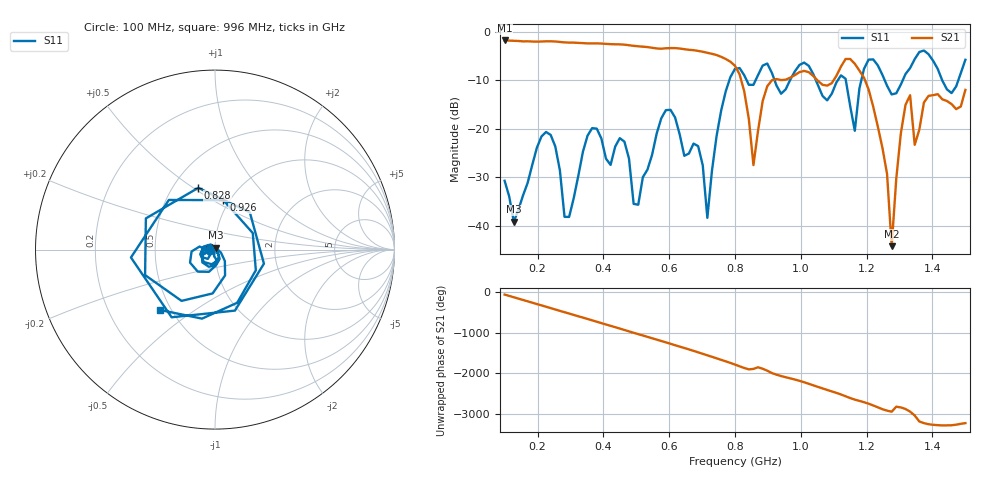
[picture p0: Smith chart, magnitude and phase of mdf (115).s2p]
! NanoVNA-App
! Date: 2025-09-25 17:41:51
! Start: 100MHz Stop: 1,5GHz Points: 101
! S-Parameter data: F S11 S21 S12 S22
# Hz S RI R 50
!  Frequency  S11_Real  S11_Imag  S21_Real  S21_Imag  S12_Real  S12_Imag  S22_Real  S22_Imag
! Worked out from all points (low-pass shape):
!   101 points, 100 MHz to 1.5 GHz, reference 50 ohm
!   highest |S21| = -1.80 dB at 100 MHz (marker M1); lowest = -44.2 dB at 1.276 GHz (marker M2)
!   |S21| within 3 dB of the highest: start of sweep to 743.8 MHz
!   lowest |S11| = -39.2 dB at 128 MHz (marker M3), VSWR 1.02, Z = 50.3 + j1.06 ohm
!   |S11| at or under -10 dB: start of sweep to 782.8 MHz; 1.046 GHz to 1.112 GHz (66.61 MHz wide, 6.17 % of centre); 1.255 GHz to 1.31 GHz (54.74 MHz wide, 4.27 % of centre) (the widest 3 of 7)
!   S12 and S22 are empty: the file has one direction only
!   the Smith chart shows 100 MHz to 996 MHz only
!   S11 on the Smith chart (normalised r, x): 100 MHz: 0.94, -0.01; 828 MHz: 0.66, +0.52; 926 MHz: 0.94, +0.56; 996 MHz: 0.44, -0.37
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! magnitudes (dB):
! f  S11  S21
! 100 MHz  -30.7  -1.8
! 128 MHz  -39.2  -1.9
! 212 MHz  -21.6  -2.0
! 282 MHz  -38.1  -2.2
! 338 MHz  -24.7  -2.3
! 464 MHz  -22.6  -2.7
! 506 MHz  -35.6  -3.0
! 576 MHz  -17.8  -3.5
! 688 MHz  -23.6  -4.0
! 716 MHz  -38.3  -4.3
! 800 MHz  -7.6  -7.0
! 828 MHz  -9.0  -12.3
! 856 MHz  -10.9  -27.5
! 926 MHz  -11.1  -9.7
! 996 MHz  -6.8  -8.3
! 1.038 GHz  -8.7  -9.1
! 1.164 GHz  -20.4  -6.6
! 1.192 GHz  -7.6  -9.5
! 1.262 GHz  -11.1  -29.3
! 1.276 GHz  -12.9  -44.2
! 1.318 GHz  -8.7  -15.1
! 1.5 GHz  -5.8  -12.0
